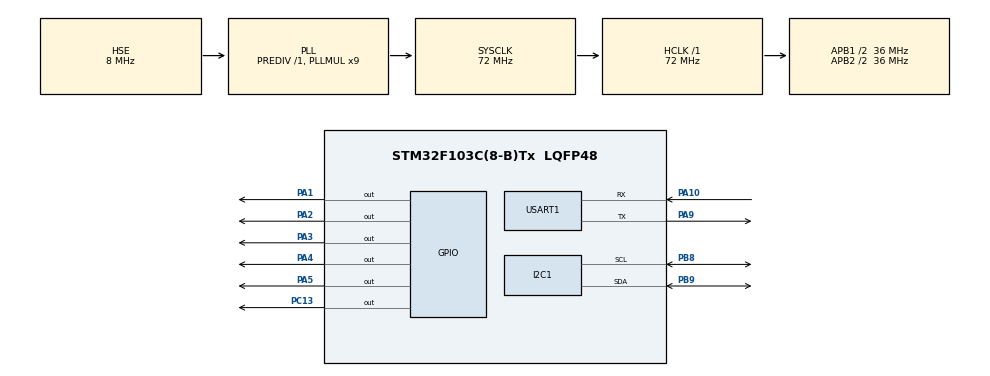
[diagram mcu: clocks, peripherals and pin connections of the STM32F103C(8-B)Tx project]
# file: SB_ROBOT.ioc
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Dma.I2C1_RX.0.Direction=DMA_PERIPH_TO_MEMORY
Dma.I2C1_RX.0.Instance=DMA1_Channel7
Dma.I2C1_RX.0.MemDataAlignment=DMA_MDATAALIGN_BYTE
Dma.I2C1_RX.0.MemInc=DMA_MINC_ENABLE
Dma.I2C1_RX.0.Mode=DMA_NORMAL
Dma.I2C1_RX.0.PeriphDataAlignment=DMA_PDATAALIGN_BYTE
Dma.I2C1_RX.0.PeriphInc=DMA_PINC_DISABLE
Dma.I2C1_RX.0.Priority=DMA_PRIORITY_HIGH
Dma.I2C1_TX.1.Direction=DMA_MEMORY_TO_PERIPH
Dma.I2C1_TX.1.Instance=DMA1_Channel6
Dma.I2C1_TX.1.MemDataAlignment=DMA_MDATAALIGN_BYTE
Dma.I2C1_TX.1.MemInc=DMA_MINC_ENABLE
Dma.I2C1_TX.1.Mode=DMA_NORMAL
Dma.I2C1_TX.1.PeriphDataAlignment=DMA_PDATAALIGN_BYTE
Dma.I2C1_TX.1.PeriphInc=DMA_PINC_DISABLE
Dma.I2C1_TX.1.Priority=DMA_PRIORITY_HIGH
Dma.Request0=I2C1_RX
Dma.Request1=I2C1_TX
Dma.Request2=USART1_RX
Dma.USART1_RX.2.Direction=DMA_PERIPH_TO_MEMORY
Dma.USART1_RX.2.Instance=DMA1_Channel5
Dma.USART1_RX.2.MemDataAlignment=DMA_MDATAALIGN_BYTE
Dma.USART1_RX.2.MemInc=DMA_MINC_ENABLE
Dma.USART1_RX.2.Mode=DMA_NORMAL
Dma.USART1_RX.2.PeriphDataAlignment=DMA_PDATAALIGN_BYTE
Dma.USART1_RX.2.PeriphInc=DMA_PINC_DISABLE
Dma.USART1_RX.2.Priority=DMA_PRIORITY_HIGH
Mcu.Family=STM32F1
Mcu.Name=STM32F103C(8-B)Tx
Mcu.Package=LQFP48
NVIC.DMA1_Channel5_IRQn=true\:0\:0\:false\:false\:true\:false\:true
NVIC.DMA1_Channel6_IRQn=true\:0\:0\:false\:false\:true\:false\:true
NVIC.DMA1_Channel7_IRQn=true\:0\:0\:false\:false\:true\:false\:true
NVIC.PriorityGroup=NVIC_PRIORITYGROUP_1
NVIC.TIM1_UP_IRQn=true\:0\:1\:true\:false\:true\:true\:true
NVIC.TIM2_IRQn=true\:0\:1\:true\:false\:true\:true\:true
NVIC.TIM3_IRQn=true\:0\:0\:true\:false\:true\:true\:true
NVIC.USART1_IRQn=true\:0\:0\:false\:false\:true\:true\:true
PA1.Signal=GPIO_Output
PA10.Mode=Asynchronous
PA10.Signal=USART1_RX
PA13.Mode=Serial_Wire
PA13.Signal=SYS_JTMS-SWDIO
PA14.Mode=Serial_Wire
PA14.Signal=SYS_JTCK-SWCLK
PA2.Signal=GPIO_Output
PA3.Signal=GPIO_Output
PA4.Signal=GPIO_Output
PA5.Signal=GPIO_Output
PA9.Mode=Asynchronous
PA9.Signal=USART1_TX
PB8.Mode=I2C
PB8.Signal=I2C1_SCL
PB9.Mode=I2C
PB9.Signal=I2C1_SDA
PC13-TAMPER-RTC.Signal=GPIO_Output
PD0-OSC_IN.Mode=HSE-External-Oscillator
PD0-OSC_IN.Signal=RCC_OSC_IN
PD1-OSC_OUT.Mode=HSE-External-Oscillator
PD1-OSC_OUT.Signal=RCC_OSC_OUT
ProjectManager.HeapSize=0x200
ProjectManager.StackSize=0x400
ProjectManager.TargetToolchain=STM32CubeIDE
RCC.AHBFreq_Value=72000000
RCC.APB1CLKDivider=RCC_HCLK_DIV2
RCC.APB1Freq_Value=36000000
RCC.APB1TimFreq_Value=72000000
RCC.APB2CLKDivider=RCC_HCLK_DIV2
RCC.APB2Freq_Value=36000000
RCC.APB2TimFreq_Value=72000000
RCC.HCLKFreq_Value=72000000
RCC.PLLMUL=RCC_PLL_MUL9
RCC.PLLSourceVirtual=RCC_PLLSOURCE_HSE
RCC.SYSCLKFreq_VALUE=72000000
RCC.SYSCLKSource=RCC_SYSCLKSOURCE_PLLCLK
RCC.USBFreq_Value=72000000
TIM1.Prescaler=35
TIM2.Prescaler=35
TIM3.Period=65535
TIM3.Prescaler=71
USART1.VirtualMode=VM_ASYNC
VP_TIM1_VS_ClockSourceINT.Mode=Internal
VP_TIM2_VS_ClockSourceINT.Mode=Internal
VP_TIM3_VS_ClockSourceINT.Mode=Internal
board=custom

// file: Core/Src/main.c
/* USER CODE BEGIN Header */
/**
  ******************************************************************************
  * @file           : main.c
  * @brief          : Main program body
  ******************************************************************************
  * @attention
  *
  * <h2><center>&copy; Copyright (c) 2023 STMicroelectronics.
  * All rights reserved.</center></h2>
  *
  * This software component is licensed by ST under BSD 3-Clause license,
  * the "License"; You may not use this file except in compliance with the
  * License. You may obtain a copy of the License at:
  *                        opensource.org/licenses/BSD-3-Clause
  *
  ******************************************************************************
  */
/* USER CODE END Header */
#include "main.h"

/* USER CODE BEGIN Includes */
#include "control.h"
#include "MPU6050.h"
/* USER CODE END Includes */

I2C_HandleTypeDef hi2c1;
DMA_HandleTypeDef hdma_i2c1_rx;
DMA_HandleTypeDef hdma_i2c1_tx;

TIM_HandleTypeDef htim1;
TIM_HandleTypeDef htim2;
TIM_HandleTypeDef htim3;

UART_HandleTypeDef huart1;
DMA_HandleTypeDef hdma_usart1_rx;

#define MAX_CONTROL_OUTPUT 320

float Kp = 6.95;
float Kd = 0.8;
float Kp_thr = 0.03;
float Ki_thr = 0;

float Kp_position = 0.85;
float Kd_position = 0.22;

float max_target_angle = 8;

float angle_offset = 2.6;

MPU6050_t MPU6050;

float MPU_sensor_angle;
float trimAngle = 0;

uint8_t bufUart[3];

int X_axis = 1;
int Y_axis = 1;
int steeringRight = 0;
int steeringLeft = 0;
int fbMove = 0;

void SystemClock_Config(void);
static void MX_GPIO_Init(void);
static void MX_DMA_Init(void);
static void MX_TIM1_Init(void);
static void MX_TIM2_Init(void);
static void MX_I2C1_Init(void);
static void MX_TIM3_Init(void);
static void MX_USART1_UART_Init(void);

/* USER CODE BEGIN 0 */
void HAL_UART_RxCpltCallback(UART_HandleTypeDef *huart)
{
 if(huart->Instance == huart1.Instance)
 {
   HAL_UART_Receive_IT(&huart1, bufUart, 3);
   if(bufUart[0]=='P'){
	   Kp = (float)(bufUart[1] << 8 | bufUart[2])/100;
   }
   else if(bufUart[0]=='D'){
	   Kd = (float)(bufUart[1] << 8 | bufUart[2])/100;
   }
   else if(bufUart[0]=='p'){
	   Kp_position = (float)(bufUart[1] << 8 | bufUart[2])/100;
   }
   else if(bufUart[0]=='d'){
	   Kd_position = (float)(bufUart[1] << 8 | bufUart[2])/100;
   }
   else if(bufUart[0]=='t'){
	   Kp_thr = (float)(bufUart[1] << 8 | bufUart[2])/100;
   }
   else if(bufUart[0]=='T'){
	   Ki_thr = (float)(bufUart[1] << 8 | bufUart[2])/100;
   }
   else if(bufUart[0]=='X'){
	   X_axis = (int)(bufUart[1] << 8 | bufUart[2]);
   }
   else if(bufUart[0]=='Y'){
	   Y_axis = (int)(bufUart[1] << 8 | bufUart[2]);
   }
   else if(bufUart[0]=='A'){
	   int16_t trim = (bufUart[1] << 8 | bufUart[2]);
	   trimAngle = (float)trim/10;
   }
   HAL_GPIO_TogglePin(GPIOC, GPIO_PIN_13);
 }
}

void move(int X_axis, int Y_axis){
	if ((X_axis -1 ) == 0 && (Y_axis -1 ) == 1) {			// forward
		fbMove = 8;
	}
	else if ((X_axis -1 ) == 0 && (Y_axis -1 ) == -1) {		// backward
		fbMove = -8;
	}
	else if ((X_axis -1 ) == -1 && (Y_axis -1 ) == 0) {		// left
		steeringLeft = -50; steeringRight = 50;
	}
	else if ((X_axis -1 ) == 1 && (Y_axis -1 ) == 0) {		// right
		steeringLeft = 50; steeringRight = -50;
	}
	else if ((X_axis -1 ) == -1 && (Y_axis -1 ) == 1) {		// left forward
		steeringLeft = 25; steeringRight = 50;
	}
	else if ((X_axis -1 ) == 1 && (Y_axis -1 ) == 1) {		// right forward
		steeringLeft = 50; steeringRight = 25;
	}
	else if ((X_axis -1 ) == -1 && (Y_axis -1 ) == -1) {		// left backward
		steeringLeft = -25; steeringRight = -50;
	}
	else if ((X_axis -1 ) == 1 && (Y_axis -1 ) == -1) {		// right backward
		steeringLeft = -50; steeringRight = -25;
	}
	else if ((X_axis -1 ) == 0 && (Y_axis -1 ) == 0) {
		steeringLeft = 0; steeringRight = 0;
		fbMove = 0;
	}
}
/* USER CODE END 0 */

int main(void)
{

  /* MCU Configuration--------------------------------------------------------*/

  /* Reset of all peripherals, Initializes the Flash interface and the Systick. */
    HAL_Init();

  /* Configure the system clock */
  SystemClock_Config();

  /* Initialize all configured peripherals */
  MX_GPIO_Init();
  MX_DMA_Init();
  MX_TIM1_Init();
  MX_TIM2_Init();
  MX_I2C1_Init();
  MX_TIM3_Init();
  MX_USART1_UART_Init();
//  /* USER CODE BEGIN 2 */
  HAL_TIM_Base_Start_IT(&htim1);
  HAL_TIM_Base_Start_IT(&htim2);
  HAL_TIM_Base_Start_IT(&htim3);
  HAL_UART_Receive_IT(&huart1, bufUart, 3);

  MPU6050_Init(&hi2c1);

  /* USER CODE END 2 */

  /* Infinite loop */
  while (1)
  {
	    move(X_axis, Y_axis);

	    dt = (timer_value - timer_old) * 0.000001; // dt in seconds
	    timer_old = timer_value;
	    timer_value = __HAL_TIM_GET_COUNTER(&htim3);
	    angle_adjusted_Old = angle_adjusted;

//	     Get new orientation angle from IMU (MPU6050)
	    MPU6050_Read_All(&hi2c1, &MPU6050);
	    MPU_sensor_angle = (float)MPU6050.KalmanAngleY + trimAngle + fbMove;

	    angle_adjusted = MPU_sensor_angle + angle_offset;

	    // We calculate the estimated robot speed:
	    // Estimated_Speed = angular_velocity_of_stepper_motors(combined) - angular_velocity_of_robot(angle measured by IMU)
	    actual_robot_speed = (speed_M1 + speed_M2) / 2; // Positive: forward

	    int16_t angular_velocity = (angle_adjusted - angle_adjusted_Old) * 25.0; // 25 is an empirical extracted factor to adjust for real units
	    int16_t estimated_speed = -actual_robot_speed + angular_velocity;
	    estimated_speed_filtered = estimated_speed_filtered * 0.9 + (float)estimated_speed * 0.1; // low pass filter on estimated speed

	      // POSITION CONTROL. INPUT: Target steps for each motor. Output: motors speed
	    motor1_control = positionPDControl(steps1, target_steps1, Kp_position, Kd_position, speed_M1);
	    motor2_control = positionPDControl(steps2, target_steps2, Kp_position, Kd_position, speed_M2);

//	       Convert from motor position control to throttle / steering commands
	    throttle = (motor1_control + motor2_control) / 2;
	    throttle = constrain(throttle, -100, 100);

	    // ROBOT SPEED CONTROL: This is a PI controller.
	    //    input:user throttle(robot speed), variable: estimated robot speed, output: target robot angle to get the desired speed
	    target_angle = 0;
	    target_angle = speedPIControl(dt, estimated_speed_filtered, throttle, Kp_thr, Ki_thr);
	    target_angle = constrain(target_angle, -max_target_angle, max_target_angle); // limited output

//	     Stability control (100Hz loop): This is a PD controller.
//	        input: robot target angle(from SPEED CONTROL), variable: robot angle, output: Motor speed
//	        We integrate the output (sumatory), so the output is really the motor acceleration, not motor speed.
	    control_output += stabilityPDControl(dt, angle_adjusted, target_angle, Kp, Kd);
	    control_output = constrain(control_output, -MAX_CONTROL_OUTPUT, MAX_CONTROL_OUTPUT); // Limit max output from control

	    // The steering part from the user is injected directly to the output
	    motor1 = control_output + steeringRight;
	    motor2 = control_output + steeringLeft ;

	    // Limit max speed (control output)
	    motor1 = constrain(motor1, -MAX_CONTROL_OUTPUT, MAX_CONTROL_OUTPUT);
	    motor2 = constrain(motor2, -MAX_CONTROL_OUTPUT, MAX_CONTROL_OUTPUT);

	    int angle_ready = 70;  // Default angle
	    if ((angle_adjusted < angle_ready) && (angle_adjusted > -angle_ready)) // Is robot ready (upright?)
	    {
	      // NORMAL MODE
	    	HAL_GPIO_WritePin(GPIOA, GPIO_PIN_5, RESET);  // Motors enable
	      // NOW we send the commands to the motors
	    	setMotorSpeedM1(motor1);
	    	setMotorSpeedM2(motor2);
	    }
	    else   // Robot not ready (flat), angle > angle_ready => ROBOT OFF
	    {
	    	HAL_GPIO_WritePin(GPIOA, GPIO_PIN_5, SET); // Disable motors
	    	setMotorSpeedM1(0);
	    	setMotorSpeedM2(0);
	    	steps1 = 0;
	    	steps2 = 0;
	    	throttle = 0;
	    	steering = 0;
	    }
  }
}

void SystemClock_Config(void)
{
  RCC_OscInitTypeDef RCC_OscInitStruct = {0};
  RCC_ClkInitTypeDef RCC_ClkInitStruct = {0};

  /** Initializes the RCC Oscillators according to the specified parameters
  * in the RCC_OscInitTypeDef structure.
  */
  RCC_OscInitStruct.OscillatorType = RCC_OSCILLATORTYPE_HSE;
  RCC_OscInitStruct.HSEState = RCC_HSE_ON;
  RCC_OscInitStruct.HSEPredivValue = RCC_HSE_PREDIV_DIV1;
  RCC_OscInitStruct.HSIState = RCC_HSI_ON;
  RCC_OscInitStruct.PLL.PLLState = RCC_PLL_ON;
  RCC_OscInitStruct.PLL.PLLSource = RCC_PLLSOURCE_HSE;
  RCC_OscInitStruct.PLL.PLLMUL = RCC_PLL_MUL9;
  if (HAL_RCC_OscConfig(&RCC_OscInitStruct) != HAL_OK)
  {
    Error_Handler();
  }
  /** Initializes the CPU, AHB and APB buses clocks
  */
  RCC_ClkInitStruct.ClockType = RCC_CLOCKTYPE_HCLK|RCC_CLOCKTYPE_SYSCLK
                              |RCC_CLOCKTYPE_PCLK1|RCC_CLOCKTYPE_PCLK2;
  RCC_ClkInitStruct.SYSCLKSource = RCC_SYSCLKSOURCE_PLLCLK;
  RCC_ClkInitStruct.AHBCLKDivider = RCC_SYSCLK_DIV1;
  RCC_ClkInitStruct.APB1CLKDivider = RCC_HCLK_DIV2;
  RCC_ClkInitStruct.APB2CLKDivider = RCC_HCLK_DIV2;

  if (HAL_RCC_ClockConfig(&RCC_ClkInitStruct, FLASH_LATENCY_2) != HAL_OK)
  {
    Error_Handler();
  }
}

static void MX_I2C1_Init(void)
{

  hi2c1.Instance = I2C1;
  hi2c1.Init.ClockSpeed = 100000;
  hi2c1.Init.DutyCycle = I2C_DUTYCYCLE_2;
  hi2c1.Init.OwnAddress1 = 0;
  hi2c1.Init.AddressingMode = I2C_ADDRESSINGMODE_7BIT;
  hi2c1.Init.DualAddressMode = I2C_DUALADDRESS_DISABLE;
  hi2c1.Init.OwnAddress2 = 0;
  hi2c1.Init.GeneralCallMode = I2C_GENERALCALL_DISABLE;
  hi2c1.Init.NoStretchMode = I2C_NOSTRETCH_DISABLE;
  if (HAL_I2C_Init(&hi2c1) != HAL_OK)
  {
    Error_Handler();
  }

}

static void MX_TIM1_Init(void)
{

  TIM_ClockConfigTypeDef sClockSourceConfig = {0};
  TIM_MasterConfigTypeDef sMasterConfig = {0};

  htim1.Instance = TIM1;
  htim1.Init.Prescaler = 35;
  htim1.Init.CounterMode = TIM_COUNTERMODE_UP;
  htim1.Init.Period = 65535;
  htim1.Init.ClockDivision = TIM_CLOCKDIVISION_DIV1;
  htim1.Init.RepetitionCounter = 0;
  htim1.Init.AutoReloadPreload = TIM_AUTORELOAD_PRELOAD_DISABLE;
  if (HAL_TIM_Base_Init(&htim1) != HAL_OK)
  {
    Error_Handler();
  }
  sClockSourceConfig.ClockSource = TIM_CLOCKSOURCE_INTERNAL;
  if (HAL_TIM_ConfigClockSource(&htim1, &sClockSourceConfig) != HAL_OK)
  {
    Error_Handler();
  }
  sMasterConfig.MasterOutputTrigger = TIM_TRGO_RESET;
  sMasterConfig.MasterSlaveMode = TIM_MASTERSLAVEMODE_DISABLE;
  if (HAL_TIMEx_MasterConfigSynchronization(&htim1, &sMasterConfig) != HAL_OK)
  {
    Error_Handler();
  }

}

static void MX_TIM2_Init(void)
{

  TIM_ClockConfigTypeDef sClockSourceConfig = {0};
  TIM_MasterConfigTypeDef sMasterConfig = {0};

  htim2.Instance = TIM2;
  htim2.Init.Prescaler = 35;
  htim2.Init.CounterMode = TIM_COUNTERMODE_UP;
  htim2.Init.Period = 65535;
  htim2.Init.ClockDivision = TIM_CLOCKDIVISION_DIV1;
  htim2.Init.AutoReloadPreload = TIM_AUTORELOAD_PRELOAD_DISABLE;
  if (HAL_TIM_Base_Init(&htim2) != HAL_OK)
  {
    Error_Handler();
  }
  sClockSourceConfig.ClockSource = TIM_CLOCKSOURCE_INTERNAL;
  if (HAL_TIM_ConfigClockSource(&htim2, &sClockSourceConfig) != HAL_OK)
  {
    Error_Handler();
  }
  sMasterConfig.MasterOutputTrigger = TIM_TRGO_RESET;
  sMasterConfig.MasterSlaveMode = TIM_MASTERSLAVEMODE_DISABLE;
  if (HAL_TIMEx_MasterConfigSynchronization(&htim2, &sMasterConfig) != HAL_OK)
  {
    Error_Handler();
  }

}

static void MX_TIM3_Init(void)
{

  TIM_ClockConfigTypeDef sClockSourceConfig = {0};
  TIM_MasterConfigTypeDef sMasterConfig = {0};

  htim3.Instance = TIM3;
  htim3.Init.Prescaler = 71;
  htim3.Init.CounterMode = TIM_COUNTERMODE_UP;
  htim3.Init.Period = 65535;
  htim3.Init.ClockDivision = TIM_CLOCKDIVISION_DIV1;
  htim3.Init.AutoReloadPreload = TIM_AUTORELOAD_PRELOAD_DISABLE;
  if (HAL_TIM_Base_Init(&htim3) != HAL_OK)
  {
    Error_Handler();
  }
  sClockSourceConfig.ClockSource = TIM_CLOCKSOURCE_INTERNAL;
  if (HAL_TIM_ConfigClockSource(&htim3, &sClockSourceConfig) != HAL_OK)
  {
    Error_Handler();
  }
  sMasterConfig.MasterOutputTrigger = TIM_TRGO_RESET;
  sMasterConfig.MasterSlaveMode = TIM_MASTERSLAVEMODE_DISABLE;
  if (HAL_TIMEx_MasterConfigSynchronization(&htim3, &sMasterConfig) != HAL_OK)
  {
    Error_Handler();
  }

}

static void MX_USART1_UART_Init(void)
{

  huart1.Instance = USART1;
  huart1.Init.BaudRate = 115200;
  huart1.Init.WordLength = UART_WORDLENGTH_8B;
  huart1.Init.StopBits = UART_STOPBITS_1;
  huart1.Init.Parity = UART_PARITY_NONE;
  huart1.Init.Mode = UART_MODE_TX_RX;
  huart1.Init.HwFlowCtl = UART_HWCONTROL_NONE;
  huart1.Init.OverSampling = UART_OVERSAMPLING_16;
  if (HAL_UART_Init(&huart1) != HAL_OK)
  {
    Error_Handler();
  }

}

static void MX_DMA_Init(void)
{

  /* DMA controller clock enable */
  __HAL_RCC_DMA1_CLK_ENABLE();

  /* DMA interrupt init */
  /* DMA1_Channel5_IRQn interrupt configuration */
  HAL_NVIC_SetPriority(DMA1_Channel5_IRQn, 0, 0);
  HAL_NVIC_EnableIRQ(DMA1_Channel5_IRQn);
  /* DMA1_Channel6_IRQn interrupt configuration */
  HAL_NVIC_SetPriority(DMA1_Channel6_IRQn, 0, 0);
  HAL_NVIC_EnableIRQ(DMA1_Channel6_IRQn);
  /* DMA1_Channel7_IRQn interrupt configuration */
  HAL_NVIC_SetPriority(DMA1_Channel7_IRQn, 0, 0);
  HAL_NVIC_EnableIRQ(DMA1_Channel7_IRQn);

}

static void MX_GPIO_Init(void)
{
  GPIO_InitTypeDef GPIO_InitStruct = {0};

  /* GPIO Ports Clock Enable */
  __HAL_RCC_GPIOC_CLK_ENABLE();
  __HAL_RCC_GPIOD_CLK_ENABLE();
  __HAL_RCC_GPIOA_CLK_ENABLE();
  __HAL_RCC_GPIOB_CLK_ENABLE();

  /*Configure GPIO pin Output Level */
  HAL_GPIO_WritePin(GPIOC, GPIO_PIN_13, GPIO_PIN_RESET);

  /*Configure GPIO pin Output Level */
  HAL_GPIO_WritePin(GPIOA, GPIO_PIN_1|GPIO_PIN_2|GPIO_PIN_3|GPIO_PIN_4
                          |GPIO_PIN_5, GPIO_PIN_RESET);

  /*Configure GPIO pin : PC13 */
  GPIO_InitStruct.Pin = GPIO_PIN_13;
  GPIO_InitStruct.Mode = GPIO_MODE_OUTPUT_PP;
  GPIO_InitStruct.Pull = GPIO_NOPULL;
  GPIO_InitStruct.Speed = GPIO_SPEED_FREQ_LOW;
  HAL_GPIO_Init(GPIOC, &GPIO_InitStruct);

  /*Configure GPIO pins : PA1 PA2 PA3 PA4
                           PA5 */
  GPIO_InitStruct.Pin = GPIO_PIN_1|GPIO_PIN_2|GPIO_PIN_3|GPIO_PIN_4
                          |GPIO_PIN_5;
  GPIO_InitStruct.Mode = GPIO_MODE_OUTPUT_PP;
  GPIO_InitStruct.Pull = GPIO_NOPULL;
  GPIO_InitStruct.Speed = GPIO_SPEED_FREQ_LOW;
  HAL_GPIO_Init(GPIOA, &GPIO_InitStruct);

}

void Error_Handler(void)
{
  __disable_irq();
  while (1)
  {
  }
}

/************************ (C) COPYRIGHT STMicroelectronics *****END OF FILE****/
